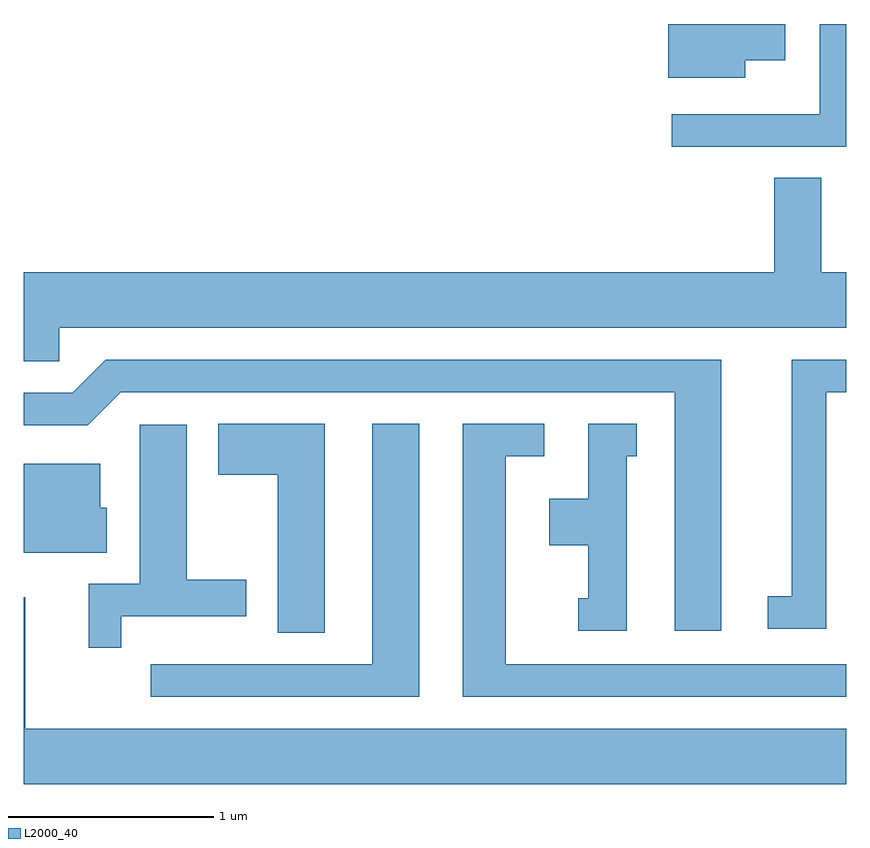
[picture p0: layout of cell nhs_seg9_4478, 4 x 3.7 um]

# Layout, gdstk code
import gdstk
lib = gdstk.Library(unit=1e-6, precision=1e-09)
def P(c, l, *ps):  # polygons
    for p in ps: c.add(gdstk.Polygon(p, *l))
L2000_40 = (2000, 40)

nhs_seg9_4478 = lib.new_cell('nhs_seg9_4478')
P(nhs_seg9_4478, L2000_40, [(321.119,1964.256),(321.314,1964.256),(321.314,1964.432),(320.746,1964.432),(320.746,1964.171),(321.119,1964.171)],
  [(321.611,1964.432),(321.481,1964.432),(321.481,1963.994),(320.763,1963.994),(320.763,1963.836),(321.611,1963.836)],
  [(317.784,1962.956),(321.611,1962.956),(321.611,1963.224),(321.489,1963.224),(321.489,1963.684),(321.261,1963.684),(321.261,1963.224),(317.611,1963.224),(317.611,1962.791),(317.784,1962.791)],
  [(321.514,1962.641),(321.611,1962.641),(321.611,1962.799),(321.346,1962.799),(321.346,1961.649),(321.228,1961.649),(321.228,1961.491),(321.514,1961.491)],
  [(321.004,1962.799),(318.009,1962.799),(317.849,1962.639),(317.611,1962.639),(317.611,1962.481),(317.922,1962.481),(318.082,1962.641),(320.776,1962.641),(320.776,1961.481),(321.004,1961.481)],
  [(319.534,1962.489),(319.306,1962.489),(319.306,1961.319),(318.228,1961.319),(318.228,1961.161),(319.534,1961.161)],
  [(319.074,1962.489),(318.556,1962.489),(318.556,1962.241),(318.846,1962.241),(318.846,1961.471),(319.074,1961.471)],
  [(321.611,1961.319),(319.954,1961.319),(319.954,1962.331),(320.143,1962.331),(320.143,1962.489),(319.746,1962.489),(319.746,1961.161),(321.611,1961.161)],
  [(320.544,1962.331),(320.593,1962.331),(320.593,1962.489),(320.356,1962.489),(320.356,1962.124),(320.166,1962.124),(320.166,1961.896),(320.356,1961.896),(320.356,1961.639),(320.308,1961.639),(320.308,1961.481),(320.544,1961.481)],
  [(318.084,1961.551),(318.694,1961.551),(318.694,1961.729),(318.404,1961.729),(318.404,1962.484),(318.176,1962.484),(318.176,1961.709),(317.926,1961.709),(317.926,1961.398),(318.084,1961.398)],
  [(318.014,1962.079),(317.984,1962.079),(317.984,1962.294),(317.611,1962.294),(317.611,1961.861),(318.014,1961.861)],
  [(321.611,1961.004),(317.619,1961.004),(317.619,1961.643),(317.611,1961.643),(317.611,1960.736),(321.611,1960.736)])

lib.write_gds('nhs_seg9_4478.gds')
